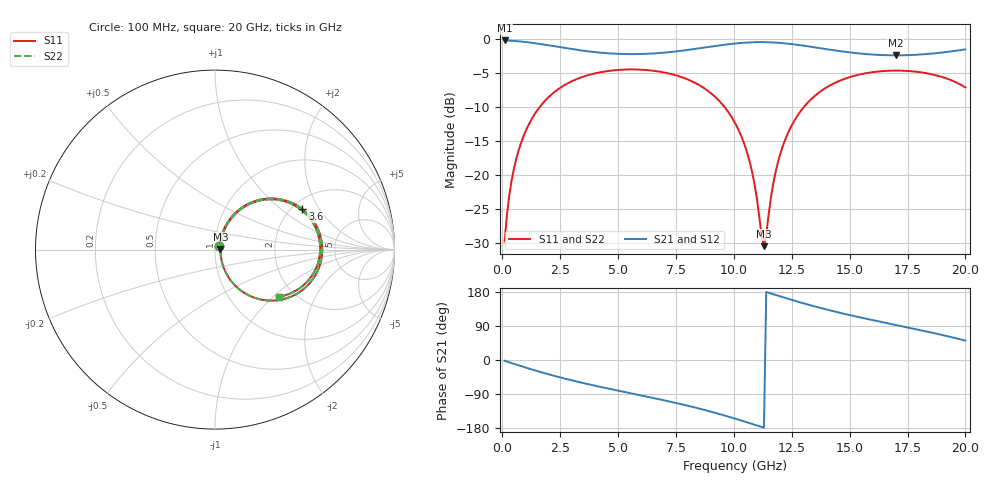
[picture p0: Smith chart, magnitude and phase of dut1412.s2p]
! Touchstone file exported from HFSS 2026.1.0
!  File:  C:/ffzhzh/LocalFiles/Ansys_Project_Files/temp_train_TSV_RDL_1412_1783353077_48288.aedt
!  Generated:  12:04:09 AM Jul  7, 2026
!  Design:  TSV_RDL
!  Project:  temp_train_TSV_RDL_1412_1783353077_48288
! Variables:
!  h_bsmrdl = 5.76um
!  h_ox = 20um
!  h_rdl = 5um
!  h_sub = 79.51um
!  h_tmrdl = 4.3um
!  h_tsv = 79.51um
!  h_via = 3um
!  l_bsmrdl = 469.45um
!  l_sub = 5335.81um
!  l_tmrdl = 859.38um
!  m_sub = 200um
!  pitch = 51.76um
!  r_tsv = 10.34um
!  s_tmrdl = 10um
!  w_bsmrdl = 10.6um
!  w_sub = 500um
!  w_tmrdl = 19.38um
!  x_tsv_center1 = 869.07um
!  x_tsv_center2 = 1349.12um
!  x_tsv_center3 = 2227.88um
!  x_tsv_center4 = 2707.93um
!  x_tsv_center5 = 3586.69um
!  x_tsv_center6 = 4066.74um
# GHz S MA R 50.000000
! Terminal data exported
! Port[1] = TM_RDL1_1_T1
! Port[2] = TM_RDL5_1_T1
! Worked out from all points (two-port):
!   200 points, 100 MHz to 20 GHz, reference 50 ohm
!   highest |S21| = -0.21 dB at 100 MHz (marker M1); lowest = -2.4 dB at 17 GHz (marker M2)
!   |S21| within 3 dB of the highest: start of sweep to end of sweep
!   lowest |S11| = -30.4 dB at 11.3 GHz (marker M3), VSWR 1.06, Z = 53.1 + j0.087 ohm
!   |S11| at or under -10 dB: start of sweep to 1.615 GHz; 9.599 GHz to 13.02 GHz (3.424 GHz wide, 30.3 % of centre)
!   |S22| runs from -30.3 to -4.5 dB; largest |S21 - S12| = 1.7e-14
!   S11 on the Smith chart (normalised r, x): 100 MHz: 1.05, +0.05; 3.6 GHz: 2.26, +1.43; 20 GHz: 1.66, -1.08
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0.1  0.03266 41.6  0.9761 -2.1  0.9761 -2.1  0.03266 41.6
! Gamma 0 0 0 0
! Port Impedance 50 0 50 0
0.3  0.0706 63.1  0.9728 -6.1  0.9728 -6.1  0.0706 63.1
0.5  0.1109 66.3  0.9681 -10.1  0.9681 -10.1  0.1109 66.3
1.1  0.2274 61.4  0.9467 -21.6  0.9467 -21.6  0.2274 61.4
2.1  0.388 46.4  0.8937 -39.4  0.8937 -39.4  0.388 46.4
3.5  0.5293 26.3  0.8206 -60.9  0.8206 -60.9  0.5293 26.3
3.6  0.536 24.9  0.8164 -62.3  0.8164 -62.3  0.536 24.9
5.2  0.5955 4.7  0.7761 -83.4  0.7761 -83.4  0.5955 4.7
6.8  0.5756 -14.9  0.7893 -103.9  0.7893 -103.9  0.5756 -14.8
8.8  0.4256 -41.9  0.8692 -132.9  0.8692 -132.9  0.4256 -41.9
10.1  0.2329 -60.5  0.9287 -155.6  0.9287 -155.6  0.233 -60.4
10.8  0.1035 -63.9  0.9464 -168.9  0.9464 -168.9  0.1036 -63.8
11.3  0.03005 1.6  0.9485 -178.6  0.9485 -178.6  0.0304 1.5
11.7  0.08616 61.8  0.9435 173.7  0.9435 173.7  0.08627 61.6
12.1  0.1606 64.0  0.9329 166.0  0.9329 166.0  0.1607 63.9
12.7  0.2656 57.6  0.9088 155.0  0.9088 155.0  0.2656 57.5
13.4  0.3696 47.7  0.8737 142.9  0.8737 142.9  0.3696 47.7
14.8  0.5111 28.4  0.8056 121.4  0.8056 121.4  0.511 28.3
16.7  0.5847 4.9  0.7596 96.2  0.7596 96.2  0.5847 4.8
17  0.5861 1.3  0.7587 92.4  0.7587 92.4  0.5861 1.3
18.5  0.553 -16.8  0.7801 72.9  0.7801 72.9  0.553 -16.8
20  0.4416 -36.4  0.8386 51.1  0.8386 51.1  0.4415 -36.4
